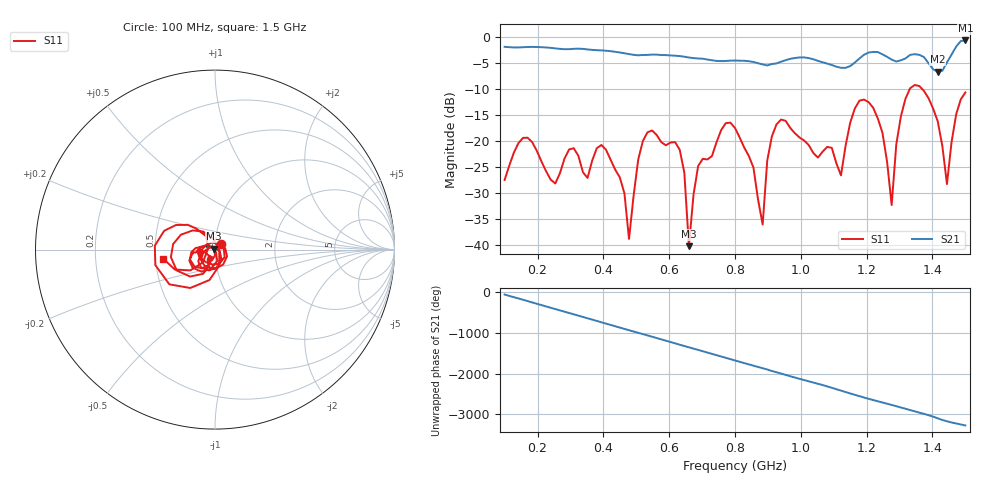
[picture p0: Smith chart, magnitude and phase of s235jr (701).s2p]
! NanoVNA-App
! Date: 2025-09-25 15:09:37
! Start: 100MHz Stop: 1,5GHz Points: 101
! S-Parameter data: F S11 S21 S12 S22
# Hz S RI R 50
!  Frequency  S11_Real  S11_Imag  S21_Real  S21_Imag  S12_Real  S12_Imag  S22_Real  S22_Imag
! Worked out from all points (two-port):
!   101 points, 100 MHz to 1.5 GHz, reference 50 ohm
!   highest |S21| = -0.75 dB at 1.5 GHz (marker M1); lowest = -6.7 dB at 1.416 GHz (marker M2)
!   |S21| within 3 dB of the highest: start of sweep to 632.8 MHz; 1.187 GHz to 1.258 GHz (71.13 MHz wide, 5.82 % of centre) (the widest 2 of 4)
!   lowest |S11| = -40.1 dB at 660 MHz (marker M3), VSWR 1.02, Z = 49.2 + j0.563 ohm
!   |S11| at or under -10 dB: start of sweep to 1.331 GHz; 1.368 GHz to end of sweep
!   S12 and S22 are empty: the file has one direction only
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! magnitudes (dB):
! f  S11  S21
! 100 MHz  -27.5  -2.0
! 156 MHz  -19.4  -2.0
! 338 MHz  -26.0  -2.4
! 408 MHz  -21.7  -2.7
! 478 MHz  -38.7  -3.4
! 520 MHz  -20.0  -3.5
! 576 MHz  -20.2  -3.5
! 632 MHz  -21.7  -3.7
! 660 MHz  -40.1  -4.0
! 688 MHz  -24.8  -4.2
! 800 MHz  -17.5  -4.6
! 884 MHz  -36.0  -5.3
! 926 MHz  -16.8  -5.1
! 1.038 GHz  -22.3  -4.3
! 1.122 GHz  -26.6  -6.0
! 1.206 GHz  -12.6  -3.1
! 1.276 GHz  -32.3  -4.4
! 1.29 GHz  -20.7  -4.8
! 1.332 GHz  -9.9  -3.5
! 1.416 GHz  -16.2  -6.7
! 1.444 GHz  -28.3  -4.9
! 1.5 GHz  -10.7  -0.7
